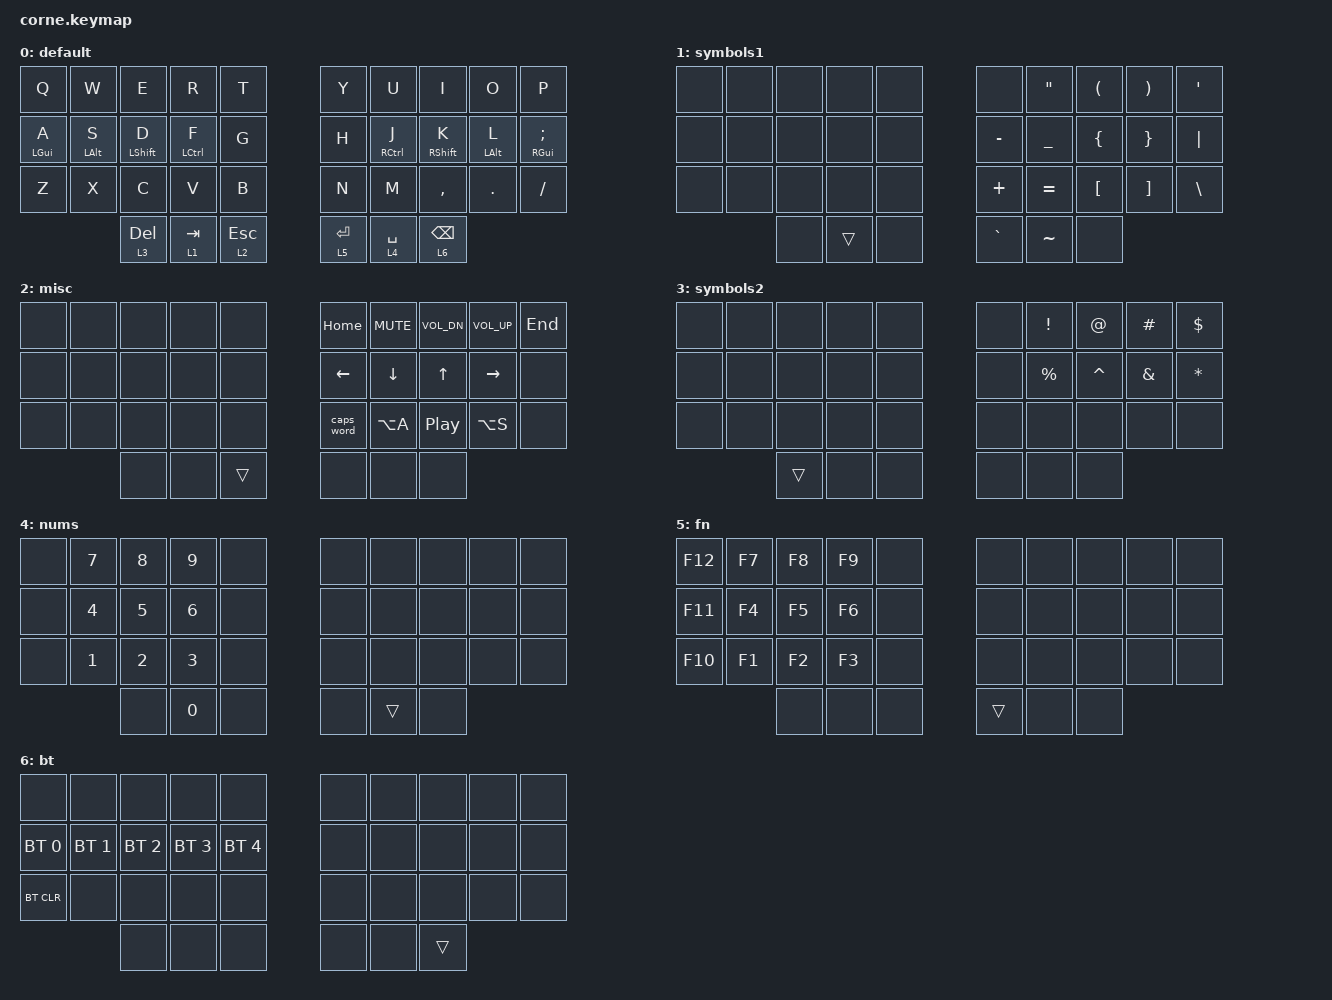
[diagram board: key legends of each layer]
/*
 * Copyright (c) 2020 The ZMK Contributors
 *
 * SPDX-License-Identifier: MIT
 */

#include <behaviors.dtsi>
#include <dt-bindings/zmk/keys.h>
#include <dt-bindings/zmk/bt.h>

#define AS(keycode) &as LS(keycode) keycode

&mt {
    quick-tap-ms = <200>;
};
&lt {
    quick-tap-ms = <200>;
};

/ {
    chosen {
        zmk,physical-layout = &foostan_corne_5col_layout;
    };

    behaviors {
        as: auto_shift {
            compatible = "zmk,behavior-hold-tap";
            #binding-cells = <2>;
            tapping_term_ms = <200>;
            quick_tap_ms = <0>;
            flavor = "tap-preferred";
            bindings = <&kp>, <&kp>;
        };
    };
        keymap {
                compatible = "zmk,keymap";

                default_layer {
                        display-name = "default";
                        bindings = <
   &kp Q      &kp W      &kp E       &kp R       &kp T        &kp Y     &kp U        &kp I       &kp O      &kp P
   &mt LGUI A &mt LALT S &mt LSHFT D &mt LCTRL F &kp G        &kp H     &mt RCTRL J  &mt RSHFT K &mt LALT L &mt RGUI SEMI
   &kp Z      &kp X      &kp C       &kp V       &kp B        &kp N     &kp M        &kp COMMA   &kp DOT    &kp SLASH
                         &lt 3 DEL   &lt 1 TAB   &lt 2 ESC    &lt 5 RET &lt 4 SPACE  &lt 6 BSPC
                        >;
                };

                symbols1_layer {
                        display-name = "symbols1";
                        bindings = <
   &none &none &none &none  &none    &none     &kp DQT   &kp LPAR &kp RPAR  &kp SQT
   &none &none &none &none  &none    &kp MINUS &kp UNDER &kp LBRC &kp RBRC  &kp PIPE
   &none &none &none &none  &none    &kp PLUS  &kp EQUAL &kp LBKT &kp RBKT  &kp BSLH
               &none &trans &none    &kp GRAVE &kp TILDE &none
                        >;
                };

                misc_layer {
                        display-name = "misc";
                        bindings = <
   &none &none &none &none &none     &kp HOME   &kp C_MUTE &kp C_VOL_DN &kp C_VOL_UP  &kp END
   &none &none &none &none &none     &kp LEFT   &kp DOWN   &kp UP       &kp RIGHT     &none
   &none &none &none &none &none     &caps_word &kp LA(A)  &kp C_PP     &kp LA(S)     &none
               &none &none &trans    &none      &none      &none
                        >;
                };

                symbols2_layer {
                        display-name = "symbols2";
                        bindings = <
   &none &none &none  &none &none     &none &kp EXCL  &kp AT    &kp HASH &kp DLLR
   &none &none &none  &none &none     &none &kp PRCNT &kp CARET &kp AMPS &kp STAR
   &none &none &none  &none &none     &none &none     &none     &none    &none
               &trans &none &none     &none &none     &none
                        >;
                };

                nums_layer {
                        display-name = "nums";
                        bindings = <
   &none &kp N7 &kp N8 &kp N9 &none     &none &none  &none  &none &none
   &none &kp N4 &kp N5 &kp N6 &none     &none &none  &none  &none &none
   &none &kp N1 &kp N2 &kp N3 &none     &none &none  &none  &none &none
                &none  &kp N0 &none     &none &trans &none
                        >;
                };

                fn_layer {
                        display-name = "fn";
                        bindings = <
   &kp F12 &kp F7 &kp F8 &kp F9 &none     &none  &none &none  &none &none
   &kp F11 &kp F4 &kp F5 &kp F6 &none     &none  &none &none  &none &none
   &kp F10 &kp F1 &kp F2 &kp F3 &none     &none  &none &none  &none &none
                  &none  &none  &none     &trans &none &none
                        >;
                };

                bt_layer {
                        display-name = "bt";
                        bindings = <
   &none        &none        &none        &none        &none          &none  &none &none  &none &none
   &bt BT_SEL 0 &bt BT_SEL 1 &bt BT_SEL 2 &bt BT_SEL 3 &bt BT_SEL 4   &none  &none &none  &none &none
   &bt BT_CLR   &none        &none        &none        &none          &none  &none &none  &none &none
                             &none        &none        &none          &none &none &trans
                        >;
                };
        };
};
